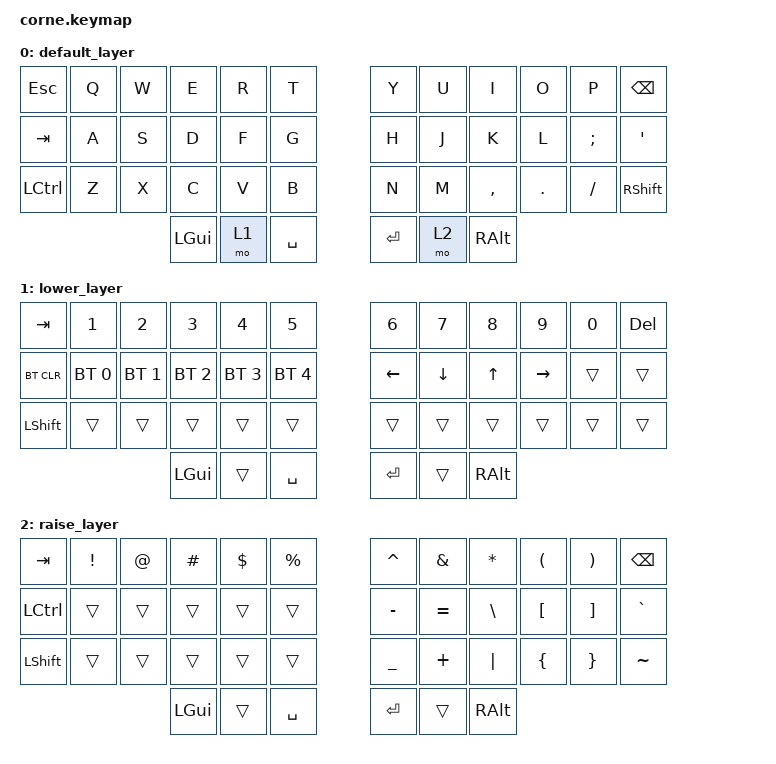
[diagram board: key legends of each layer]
/*
 * Copyright (c) 2020 The ZMK Contributors
 *
 * SPDX-License-Identifier: MIT
 */

#include <behaviors.dtsi>
#include <dt-bindings/zmk/keys.h>
#include <dt-bindings/zmk/bt.h>

/ {
        keymap {
                compatible = "zmk,keymap";

                default_layer {
// -----------------------------------------------------------------------------------------
// | ESC  |  Q  |  W  |  E  |  R  |  T  |   |  Y  |  U   |  I  |  O  |  P  | BKSP |
// | TAB  |  A  |  S  |  D  |  F  |  G  |   |  H  |  J   |  K  |  L  |  ;  |  '   |
// | LCTRL|  Z  |  X  |  C  |  V  |  B  |   |  N  |  M   |  ,  |  .  |  /  | SHFT |
//                    | GUI | LWR | SPC |   | ENT | RSE  | ALT |
                        bindings = <
   &kp ESC   &kp Q &kp W &kp E &kp R &kp T   &kp Y &kp U  &kp I     &kp O   &kp P    &kp BSPC
   &kp TAB   &kp A &kp S &kp D &kp F &kp G   &kp H &kp J  &kp K     &kp L   &kp SEMI &kp SQT
   &kp LCTRL &kp Z &kp X &kp C &kp V &kp B   &kp N &kp M  &kp COMMA &kp DOT &kp FSLH &kp RSHFT
                  &kp LGUI &mo 1 &kp SPACE   &kp RET &mo 2 &kp RALT
                        >;
                };
                lower_layer {
// -----------------------------------------------------------------------------------------
// |  TAB |  1  |  2  |  3  |  4  |  5  |   |  6  |  7  |  8  |  9  |  0  |  DEL |
// | BTCLR| BT1 | BT2 | BT3 | BT4 | BT5 |   | LFT | DWN |  UP | RGT |rgbcy|RGBTOG|
// | SHFT |     |     |     |     | USBO|   | BTO |     |     |     |dark |bright|
//                    | GUI |     | SPC |   | ENT |     | ALT |
                        bindings = <
   &kp TAB    &kp N1       &kp N2       &kp N3       &kp N4       &kp N5         &kp N6       &kp N7     &kp N8 &kp N9    &kp N0 &kp DEL
   &bt BT_CLR &bt BT_SEL 0 &bt BT_SEL 1 &bt BT_SEL 2 &bt BT_SEL 3 &bt BT_SEL 4 	 &kp LEFT     &kp DOWN   &kp UP &kp RIGHT &trans &trans
   &kp LSHFT  &trans       &trans       &trans       &trans       &trans				 &trans  &trans     &trans &trans    &trans &trans
                                    &kp LGUI     &trans       &kp SPACE      &kp RET  &trans   &kp RALT
                        >;
                };

                raise_layer {
// -----------------------------------------------------------------------------------------
// |  TAB |  !  |  @  |  #  |  $  |  %  |   |  ^  |  &  |  *  |  (  |  )  | BKSP |
// | CTRL |     |     |     |     |     |   |  -  |  =  |  \  |  [  |  ]  |  `   |
// | SHFT |     |     |     |     |     |   |  _  |  +  | "|" |  {  |  }  |  ~   |
//                    | GUI |     | SPC |   | ENT |     | ALT |
                        bindings = <
   &kp  TAB  &kp EXCL &kp AT &kp HASH &kp DLLR &kp PRCNT   &kp CARET &kp AMPS  &kp ASTRK &kp LPAR  &kp RPAR &kp BSPC
   &kp LCTRL &trans   &trans &trans   &trans   &trans      &kp MINUS &kp EQUAL &kp BSLH  &kp LBKT  &kp RBKT &kp GRAVE
   &kp LSHFT &trans   &trans &trans   &trans   &trans      &kp UNDER &kp PLUS  &kp PIPE  &kp LBRC  &kp RBRC &kp TILDE
                             &kp LGUI &trans   &kp SPACE   &kp RET   &trans    &kp RALT
                        >;
                };
        };
};


